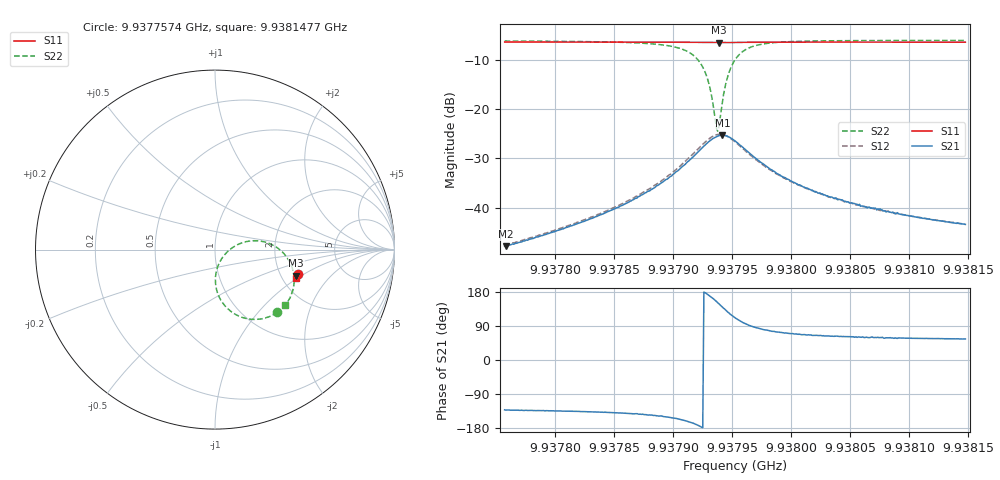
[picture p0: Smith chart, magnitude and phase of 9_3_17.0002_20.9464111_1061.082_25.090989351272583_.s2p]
#  HZ  S  RI  R  50.00
! Rohde & Schwarz Vector Network Analyzer
! Rohde-Schwarz,ZNB20-2Port,1311601062101988,3.16
! Created: UTC 3/20/2024, 10:52:25 PM
! freq[Hz]  re:S11  im:S11  re:S21  im:S21  re:S12  im:S12  re:S22  im:S22
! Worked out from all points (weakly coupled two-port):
!   401 points, 9.9377574 GHz to 9.9381477 GHz, reference 50 ohm
!   highest |S21| = -25.28 dB at 9.9379418 GHz (marker M1); lowest = -47.8 dB at 9.9377584 GHz (marker M2)
!   lowest |S11| = -6.5 dB at 9.9379389 GHz (marker M3), VSWR 2.80, Z = 120 - j44.9 ohm
!   |S11| at or under -10 dB: nowhere
!   |S22| runs from -24.5 to -6.0 dB; largest |S21 - S12| = 0.0065
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9.93775744e9  0.462 -0.1356  -0.00271 -0.00305  -0.00282 -0.00305  0.3482 -0.3488
9.93775841e9  0.4617 -0.1357  -0.00274 -0.00301  -0.00287 -0.00307  0.348 -0.349
9.93782281e9  0.4601 -0.1401  -0.00516 -0.00497  -0.0054 -0.00506  0.3225 -0.3643
9.93785599e9  0.4589 -0.1427  -0.008 -0.00676  -0.00844 -0.00683  0.2949 -0.3764
9.93788818e9  0.4574 -0.1451  -0.0146 -0.00907  -0.0156 -0.00933  0.2357 -0.3887
9.93790965e9  0.4556 -0.1468  -0.0254 -0.00958  -0.0276 -0.00904  0.1411 -0.3739
9.93792233e9  0.4537 -0.1473  -0.0376 -0.00394  -0.0405 -0.00167  0.0461 -0.3015
9.93792624e9  0.4529 -0.1471  -0.0423 0.000492  -0.045 0.00367  0.0188 -0.2535
9.93793014e9  0.4524 -0.1467  -0.0461 0.00679  -0.0483 0.0116  0.00325 -0.1882
9.93793209e9  0.4518 -0.1462  -0.0473 0.0109  -0.049 0.0163  0.00298 -0.1502
9.93793697e9  0.4515 -0.1452  -0.0474 0.023  -0.0466 0.0294  0.0363 -0.052
9.93793892e9  0.4515 -0.1446  -0.0459 0.0282  -0.0438 0.0342  0.0638 -0.0173
9.93794185e9  0.4519 -0.144  -0.0417 0.0351  -0.0381 0.0403  0.1163 0.0229
9.9379438e9  0.452 -0.1437  -0.0379 0.0386  -0.0336 0.0432  0.1557 0.0395
9.93794673e9  0.4528 -0.1431  -0.0309 0.0428  -0.0262 0.0456  0.2158 0.0495
9.93795258e9  0.4542 -0.1429  -0.0175 0.0444  -0.0131 0.0448  0.316 0.0282
9.93796039e9  0.4556 -0.1437  -0.00506 0.0394  -0.00213 0.0389  0.3935 -0.0336
9.93797112e9  0.4565 -0.1453  0.00269 0.0309  0.0043 0.03  0.4326 -0.1099
9.93799161e9  0.4566 -0.1479  0.00618 0.0201  0.00687 0.0196  0.4396 -0.1945
9.93801796e9  0.4561 -0.1503  0.00642 0.0137  0.00647 0.0134  0.428 -0.244
9.93808333e9  0.4544 -0.1551  0.00472 0.00773  0.00494 0.00757  0.4053 -0.2902
9.93814773e9  0.4527 -0.1595  0.00383 0.00558  0.00395 0.00557  0.3925 -0.3083
